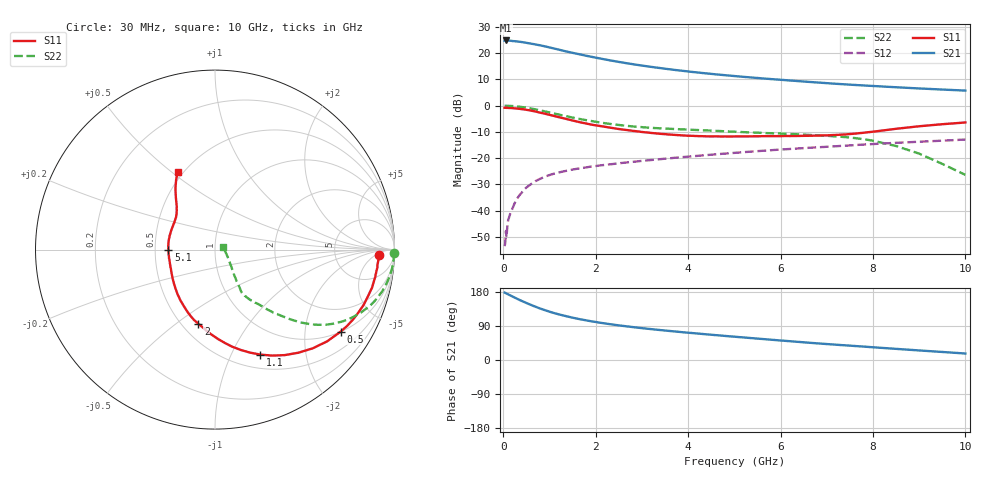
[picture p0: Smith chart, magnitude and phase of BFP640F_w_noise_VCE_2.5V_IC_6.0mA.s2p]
! Infineon Technologies  Discrete & RF Semiconductors
! BFP640F
! VCE =  2.5 V,  IC =  6.0 mA
! Common Emitter S-Parameters:  Apr 2013
# GHz  S  MA  R  50
!  f  S11  S21  S12  S22
! GHz  MAG  ANG  MAG  ANG  MAG  ANG  MAG  ANG
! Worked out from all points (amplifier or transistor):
!   99 points, 30 MHz to 10 GHz, reference 50 ohm
!   highest |S21| = 24.9 dB at 50 MHz (marker M1)
!   |S21| within 3 dB of that: start of sweep to 1.083 GHz
!   unconditionally stable (mu >= 1): 3.937 GHz to end of sweep
!   at 350 MHz: K = 0.10, MSG = 29.3 dB, |S12| = -34.2 dB
!   at 3.5 GHz: K = 0.96, MSG = 17.2 dB, |S12| = -20.2 dB
!   at 10 GHz: K = 1.09, MAG = 7.5 dB, |S12| = -12.9 dB
!   lowest NFmin = 0.54 dB at 450 MHz
!   S11 on the Smith chart (normalised r, x): 30 MHz: 19, -7; 500 MHz: 1.01, -3.06; 1.1 GHz: 0.66, -1.30; 2 GHz: 0.60, -0.60; 5.1 GHz: 0.59, -0.01; 10 GHz: 0.47, +0.52
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0.03  0.914 -2.0  17.33 178.0  0.0021 98.7  0.9974 -1.1
0.04  0.9134 -2.7  17.29 177.5  0.0023 87.8  0.9976 -1.5
0.05  0.9126 -3.5  17.55 176.9  0.0029 75.3  0.9987 -2.1
0.13  0.9055 -8.9  17.45 171.7  0.0076 84.2  0.9928 -5.4
0.3  0.8838 -20.3  16.78 161.6  0.0169 80.7  0.9686 -12.4
0.4  0.8619 -26.9  16.38 155.9  0.022 76.9  0.9446 -16.3
0.5  0.8364 -33.1  15.83 150.5  0.0275 74.7  0.9177 -20.0
0.7  0.7739 -45.3  14.73 140.5  0.0366 69.0  0.8522 -26.4
0.8  0.7385 -51.1  14.16 135.8  0.0404 66.7  0.8157 -29.4
0.9  0.7042 -56.6  13.56 131.6  0.0443 64.4  0.7802 -31.9
1.1  0.6374 -66.6  12.33 123.9  0.0507 60.5  0.7113 -36.1
1.4  0.5497 -79.9  10.67 114.5  0.0582 56.4  0.6218 -40.6
1.7  0.4757 -92.0  9.357 106.7  0.0648 53.8  0.5497 -43.7
2  0.4227 -102.7  8.257 100.4  0.0708 51.8  0.495 -46.2
2.3  0.3835 -112.8  7.35 94.7  0.0762 50.5  0.4512 -48.4
2.6  0.3496 -121.8  6.622 89.9  0.0816 49.4  0.4202 -49.8
3.4  0.2912 -142.9  5.217 79.0  0.0958 47.7  0.371 -52.9
4.1  0.2666 -158.5  4.397 71.0  0.1089 46.2  0.347 -54.6
5.1  0.2602 -179.1  3.616 60.5  0.1282 43.5  0.3165 -56.6
6.7  0.2681 152.0  2.811 44.8  0.1593 37.8  0.2755 -58.0
8.5  0.3631 126.9  2.25 29.4  0.1961 30.4  0.1704 -52.2
10  0.4791 115.8  1.942 17.1  0.2265 23.3  0.048 16.3
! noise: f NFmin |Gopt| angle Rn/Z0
0.45  0.54  0.33  8  0.09
0.9  0.55  0.33  19  0.1
1.5  0.59  0.31  27  0.1
1.9  0.61  0.29  43  0.11
2.4  0.65  0.27  56  0.11
3.5  0.75  0.23  79  0.13
5.5  0.97  0.18  155  0.16
10  1.63  0.43  -103  0.34
